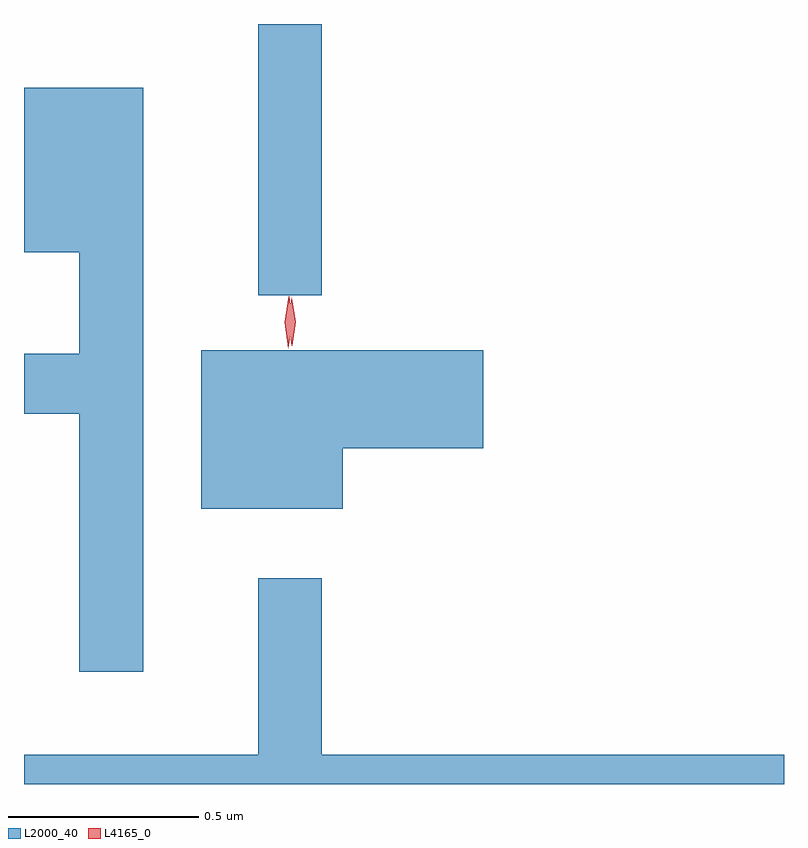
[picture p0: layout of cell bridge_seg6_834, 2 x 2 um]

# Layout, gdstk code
import gdstk
lib = gdstk.Library(unit=1e-6, precision=1e-09)
def R(c, l, rs):  # rectangles x0, y0, x1, y1
    for r in rs: c.add(gdstk.rectangle(r[:2], r[2:], *l))
def P(c, l, *ps):  # polygons
    for p in ps: c.add(gdstk.Polygon(p, *l))
L2000_40 = (2000, 40)
L4165_0 = (4165, 0)

bridge_seg6_834 = lib.new_cell('bridge_seg6_834')
R(bridge_seg6_834, L2000_40, [(576.021,1598.133,576.189,1598.847)])
P(bridge_seg6_834, L2000_40, [(575.719,1598.679),(575.405,1598.679),(575.405,1598.246),(575.551,1598.246),(575.551,1597.979),(575.405,1597.979),(575.405,1597.821),(575.551,1597.821),(575.551,1597.143),(575.719,1597.143)],
  [(576.244,1597.731),(576.614,1597.731),(576.614,1597.989),(575.871,1597.989),(575.871,1597.571),(576.244,1597.571)],
  [(577.405,1596.924),(576.189,1596.924),(576.189,1597.388),(576.021,1597.388),(576.021,1596.924),(575.405,1596.924),(575.405,1596.847),(577.405,1596.847)])
P(bridge_seg6_834, L4165_0, [(576.11,1598),(576.11,1598),(576.1,1598.063),(576.11,1598.126),(576.11,1598.127),(576.11,1598.126),(576.12,1598.063),(576.111,1598)],
  [(576.1,1597.994),(576.091,1598.062),(576.102,1598.13),(576.102,1598.13),(576.103,1598.13),(576.111,1598.062),(576.101,1597.994),(576.101,1597.994)])

lib.write_gds('bridge_seg6_834.gds')
